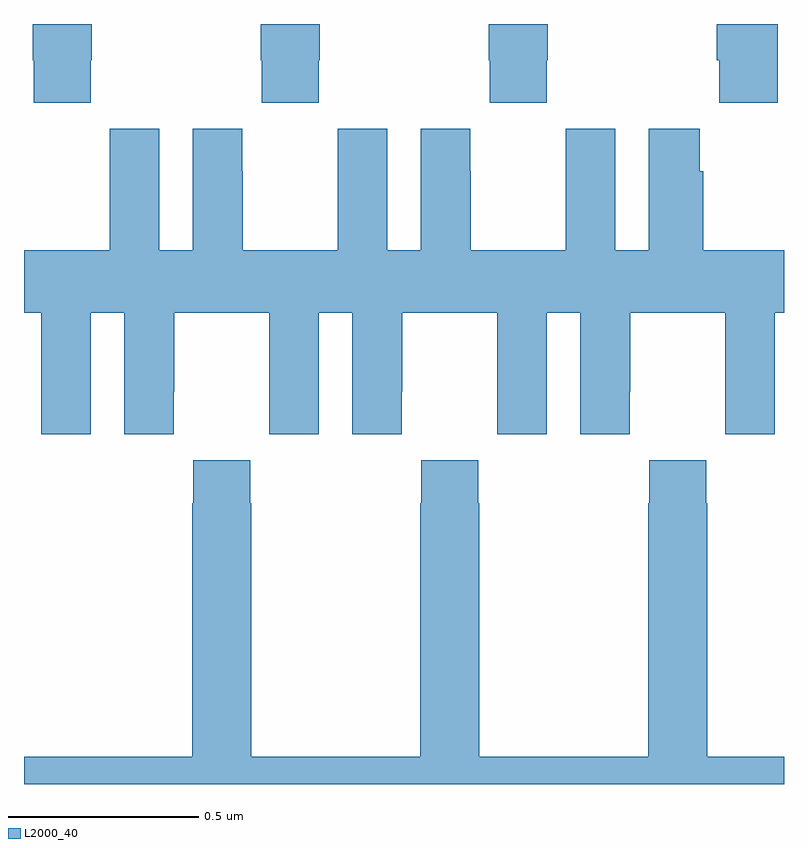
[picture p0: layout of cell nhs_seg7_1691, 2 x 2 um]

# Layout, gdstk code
import gdstk
lib = gdstk.Library(unit=1e-6, precision=1e-09)
def P(c, l, *ps):  # polygons
    for p in ps: c.add(gdstk.Polygon(p, *l))
L2000_40 = (2000, 40)

nhs_seg7_1691 = lib.new_cell('nhs_seg7_1691')
P(nhs_seg7_1691, L2000_40, [(135.983,1044),(135.823,1044),(135.823,1043.905),(135.829,1043.905),(135.829,1043.793),(135.983,1043.793)],
  [(134.775,1043.905),(134.778,1043.905),(134.778,1044),(134.623,1044),(134.623,1043.905),(134.625,1043.905),(134.625,1043.793),(134.775,1043.793)],
  [(134.175,1043.905),(134.178,1043.905),(134.178,1044),(134.023,1044),(134.023,1043.905),(134.025,1043.905),(134.025,1043.793),(134.175,1043.793)],
  [(135.375,1043.905),(135.378,1043.905),(135.378,1044),(135.223,1044),(135.223,1043.905),(135.225,1043.905),(135.225,1043.793),(135.375,1043.793)],
  [(134,1043.24),(134.045,1043.24),(134.045,1043.032),(134.046,1043.032),(134.046,1042.92),(134.176,1042.92),(134.176,1043.24),(134.264,1043.24),(134.264,1042.92),(134.394,1042.92),(134.394,1043.032),(134.395,1043.032),(134.395,1043.24),(134.645,1043.24),(134.645,1043.032),(134.646,1043.032),(134.646,1042.92),(134.776,1042.92),(134.776,1043.24),(134.864,1043.24),(134.864,1042.92),(134.994,1042.92),(134.994,1043.032),(134.995,1043.032),(134.995,1043.24),(135.245,1043.24),(135.245,1043.032),(135.246,1043.032),(135.246,1042.92),(135.376,1042.92),(135.376,1043.24),(135.464,1043.24),(135.464,1042.92),(135.594,1042.92),(135.594,1043.032),(135.595,1043.032),(135.595,1043.24),(135.845,1043.24),(135.845,1043.032),(135.846,1043.032),(135.846,1042.92),(135.976,1042.92),(135.976,1043.24),(136,1043.24),(136,1043.404),(135.788,1043.404),(135.788,1043.612),(135.778,1043.612),(135.778,1043.725),(135.644,1043.725),(135.644,1043.404),(135.556,1043.404),(135.556,1043.725),(135.426,1043.725),(135.426,1043.612),(135.425,1043.612),(135.425,1043.404),(135.175,1043.404),(135.175,1043.612),(135.174,1043.612),(135.174,1043.725),(135.044,1043.725),(135.044,1043.404),(134.956,1043.404),(134.956,1043.725),(134.826,1043.725),(134.826,1043.612),(134.825,1043.612),(134.825,1043.404),(134.575,1043.404),(134.575,1043.612),(134.574,1043.612),(134.574,1043.725),(134.444,1043.725),(134.444,1043.404),(134.356,1043.404),(134.356,1043.725),(134.226,1043.725),(134.226,1043.612),(134.225,1043.612),(134.225,1043.404),(134,1043.404)],
  [(136,1042.072),(135.798,1042.072),(135.798,1042.739),(135.795,1042.739),(135.795,1042.852),(135.645,1042.852),(135.645,1042.739),(135.643,1042.739),(135.643,1042.072),(135.198,1042.072),(135.198,1042.739),(135.195,1042.739),(135.195,1042.852),(135.045,1042.852),(135.045,1042.739),(135.043,1042.739),(135.043,1042.072),(134.598,1042.072),(134.598,1042.739),(134.595,1042.739),(134.595,1042.852),(134.445,1042.852),(134.445,1042.739),(134.443,1042.739),(134.443,1042.072),(134,1042.072),(134,1042),(136,1042)])

lib.write_gds('nhs_seg7_1691.gds')
